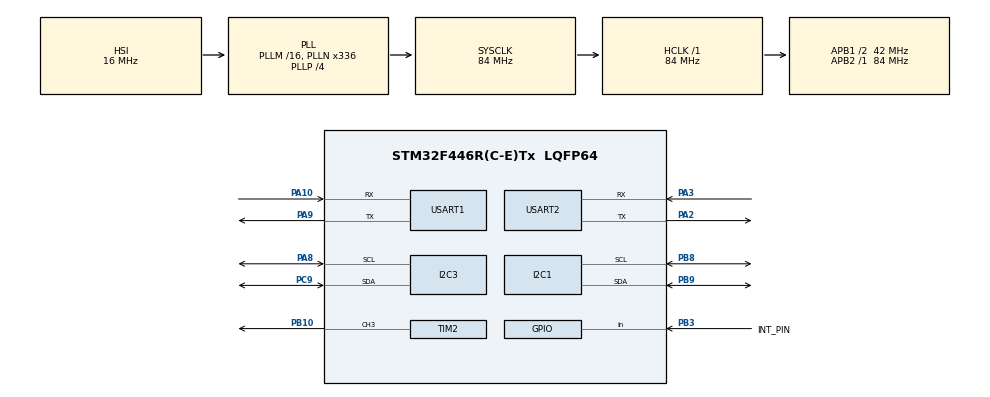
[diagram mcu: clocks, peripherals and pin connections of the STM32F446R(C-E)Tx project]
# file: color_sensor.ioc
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Dma.Request0=USART2_RX
Dma.Request1=USART2_TX
Dma.USART2_RX.0.Direction=DMA_PERIPH_TO_MEMORY
Dma.USART2_RX.0.FIFOMode=DMA_FIFOMODE_DISABLE
Dma.USART2_RX.0.Instance=DMA1_Stream5
Dma.USART2_RX.0.MemDataAlignment=DMA_MDATAALIGN_BYTE
Dma.USART2_RX.0.MemInc=DMA_MINC_ENABLE
Dma.USART2_RX.0.Mode=DMA_NORMAL
Dma.USART2_RX.0.PeriphDataAlignment=DMA_PDATAALIGN_BYTE
Dma.USART2_RX.0.PeriphInc=DMA_PINC_DISABLE
Dma.USART2_RX.0.Priority=DMA_PRIORITY_LOW
Dma.USART2_TX.1.Direction=DMA_MEMORY_TO_PERIPH
Dma.USART2_TX.1.FIFOMode=DMA_FIFOMODE_DISABLE
Dma.USART2_TX.1.Instance=DMA1_Stream6
Dma.USART2_TX.1.MemDataAlignment=DMA_MDATAALIGN_BYTE
Dma.USART2_TX.1.MemInc=DMA_MINC_ENABLE
Dma.USART2_TX.1.Mode=DMA_NORMAL
Dma.USART2_TX.1.PeriphDataAlignment=DMA_PDATAALIGN_BYTE
Dma.USART2_TX.1.PeriphInc=DMA_PINC_DISABLE
Dma.USART2_TX.1.Priority=DMA_PRIORITY_LOW
I2C1.I2C_Mode=I2C_Standard
Mcu.Family=STM32F4
Mcu.Name=STM32F446R(C-E)Tx
Mcu.Package=LQFP64
NVIC.DMA1_Stream5_IRQn=true\:0\:0\:false\:false\:true\:false\:true\:true
NVIC.DMA1_Stream6_IRQn=true\:0\:0\:false\:false\:true\:false\:true\:true
NVIC.PriorityGroup=NVIC_PRIORITYGROUP_0
PA10.Mode=Asynchronous
PA10.Signal=USART1_RX
PA2.Mode=Asynchronous
PA2.Signal=USART2_TX
PA3.Mode=Asynchronous
PA3.Signal=USART2_RX
PA8.Mode=I2C
PA8.Signal=I2C3_SCL
PA9.Mode=Asynchronous
PA9.Signal=USART1_TX
PB10.Signal=S_TIM2_CH3
PB3.GPIO_Label=INT_PIN
PB3.Signal=GPIO_Input
PB8.Mode=I2C
PB8.Signal=I2C1_SCL
PB9.Mode=I2C
PB9.Signal=I2C1_SDA
PC9.Mode=I2C
PC9.Signal=I2C3_SDA
ProjectManager.HeapSize=0x200
ProjectManager.StackSize=0x400
ProjectManager.TargetToolchain=STM32CubeIDE
RCC.48MHZClocksFreq_Value=84000000
RCC.AHBFreq_Value=84000000
RCC.APB1CLKDivider=RCC_HCLK_DIV2
RCC.APB1Freq_Value=42000000
RCC.APB1TimFreq_Value=84000000
RCC.APB2Freq_Value=84000000
RCC.APB2TimFreq_Value=84000000
RCC.CortexFreq_Value=84000000
RCC.FLatency-AdvancedSettings=FLASH_LATENCY_2
RCC.HCLKFreq_Value=84000000
RCC.HSE_VALUE=8000000
RCC.HSI_VALUE=16000000
RCC.PLLN=336
RCC.PLLP=RCC_PLLP_DIV4
RCC.SYSCLKFreq_VALUE=84000000
RCC.SYSCLKSource=RCC_SYSCLKSOURCE_PLLCLK
RCC.USBFreq_Value=168000000
RCC.VCOOutputFreq_Value=336000000
SH.S_TIM2_CH3.0=TIM2_CH3,PWM Generation3 CH3
TIM2.AutoReloadPreload=TIM_AUTORELOAD_PRELOAD_ENABLE
TIM2.Channel-PWM\ Generation3\ CH3=TIM_CHANNEL_3
TIM2.Period=2000-1
TIM2.Prescaler=36-1
USART1.VirtualMode=VM_ASYNC
USART2.VirtualMode=VM_ASYNC
board=NUCLEO-F446RE

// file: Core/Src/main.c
/* USER CODE BEGIN Header */
/**
  ******************************************************************************
  * @file           : main.c
  * @brief          : Main program body
  ******************************************************************************
  * @attention
  *
  * Copyright (c) 2024 STMicroelectronics.
  * All rights reserved.
  *
  * This software is licensed under terms that can be found in the LICENSE file
  * in the root directory of this software component.
  * If no LICENSE file comes with this software, it is provided AS-IS.
  *
  ******************************************************************************
  */
/* USER CODE END Header */
#include "main.h"

/* USER CODE BEGIN Includes */
#include "DEV_Config.h"
#include "TCS34725.h"
#include "string.h"
#include "stdio.h"
#include "math.h"
#include "stm32f4xx_hal.h"
#include "stm32f4xx.h"
/* USER CODE END Includes */

I2C_HandleTypeDef hi2c1;
I2C_HandleTypeDef hi2c3;

TIM_HandleTypeDef htim2;

UART_HandleTypeDef huart1;
UART_HandleTypeDef huart2;
DMA_HandleTypeDef hdma_usart2_rx;
DMA_HandleTypeDef hdma_usart2_tx;

/* USER CODE BEGIN PV */
uint8_t buffer[15];
uint16_t buff;
int i;
//char buffer[100];
//char buff[500];

//char buffer[100];

/* USER CODE END PV */

void SystemClock_Config(void);
//static void MX_GPIO_Init(void);
static void MX_DMA_Init(void);
static void MX_USART2_UART_Init(void);
static void MX_I2C1_Init(void);
static void MX_TIM2_Init(void);
static void MX_USART1_UART_Init(void);
static void MX_I2C3_Init(void);

int main(void)
{
  /* USER CODE BEGIN 1 */
	RGB rgb;
	UDOUBLE RGB888=0;
  /* USER CODE END 1 */

  /* MCU Configuration--------------------------------------------------------*/

  /* Reset of all peripherals, Initializes the Flash interface and the Systick. */
  HAL_Init();

  /* Configure the system clock */
  SystemClock_Config();

  /* Initialize all configured peripherals */
  MX_GPIO_Init();
  MX_DMA_Init();
  MX_USART2_UART_Init();
  MX_I2C1_Init();
  MX_TIM2_Init();
  MX_USART1_UART_Init();
  MX_I2C3_Init();
  /* USER CODE BEGIN 2 */
  MX_GPIO_Init();

	HAL_TIM_PWM_Start(&htim2, TIM_CHANNEL_3);
	if(TCS34725_Init() != 0){
      printf("TCS34725 initialization error!!\n");
  }
	else{
  printf("TCS34725 initialization success!!\n");
	}
	uint8_t data[] = "HELLO WORLD \r\n";

	HAL_UART_Transmit (&huart1, data, sizeof (data), 10);
  /* USER CODE END 2 */

  /* Infinite loop */
  /* USER CODE BEGIN WHILE */
  while (1)
  {
//	  	HAL_UART_Transmit(&huart1, data, sizeof (data), 10);

		rgb=TCS34725_Get_RGBData();
		RGB888=TCS34725_GetRGB888(rgb);
//		sprintf(buffer, "RGB888 :R=%lu   G=%lu  B=%lu \n", (RGB888 >> 16), ((RGB888 >> 8) & 0xFF), (RGB888 & 0xFF));8
		buffer[0]=RGB888>>16 ;
		buffer[1]=(RGB888>>8) & 0xff;
		buffer[2]=(RGB888) & 0xff;
//		printf("RGB888 :R=%lu   G=%lu  B=%lu \n", (RGB888 >> 16), ((RGB888 >> 8) & 0xFF), (RGB888 & 0xFF));
//		printf("RGB888=0X%lX  RGB565=0X%X \n", RGB888, RGB565);
//		if(TCS34725_GetLux_Interrupt(0xff00, 0x0Cff) == 1){
//				printf("Lux_Interrupt = 1\r\n");
//		}else{
//				printf("Lux_Interrupt = 0\r\n");
//		}
//		printf("\r\n");
		//DEV_Delay_ms(300);
    /* USER CODE END WHILE */

  }
}

void SystemClock_Config(void)
{
  RCC_OscInitTypeDef RCC_OscInitStruct = {0};
  RCC_ClkInitTypeDef RCC_ClkInitStruct = {0};

  /** Configure the main internal regulator output voltage
  */
  __HAL_RCC_PWR_CLK_ENABLE();
  __HAL_PWR_VOLTAGESCALING_CONFIG(PWR_REGULATOR_VOLTAGE_SCALE3);

  /** Initializes the RCC Oscillators according to the specified parameters
  * in the RCC_OscInitTypeDef structure.
  */
  RCC_OscInitStruct.OscillatorType = RCC_OSCILLATORTYPE_HSI;
  RCC_OscInitStruct.HSIState = RCC_HSI_ON;
  RCC_OscInitStruct.HSICalibrationValue = RCC_HSICALIBRATION_DEFAULT;
  RCC_OscInitStruct.PLL.PLLState = RCC_PLL_ON;
  RCC_OscInitStruct.PLL.PLLSource = RCC_PLLSOURCE_HSI;
  RCC_OscInitStruct.PLL.PLLM = 16;
  RCC_OscInitStruct.PLL.PLLN = 336;
  RCC_OscInitStruct.PLL.PLLP = RCC_PLLP_DIV4;
  RCC_OscInitStruct.PLL.PLLQ = 2;
  RCC_OscInitStruct.PLL.PLLR = 2;
  if (HAL_RCC_OscConfig(&RCC_OscInitStruct) != HAL_OK)
  {
    Error_Handler();
  }

  /** Initializes the CPU, AHB and APB buses clocks
  */
  RCC_ClkInitStruct.ClockType = RCC_CLOCKTYPE_HCLK|RCC_CLOCKTYPE_SYSCLK
                              |RCC_CLOCKTYPE_PCLK1|RCC_CLOCKTYPE_PCLK2;
  RCC_ClkInitStruct.SYSCLKSource = RCC_SYSCLKSOURCE_PLLCLK;
  RCC_ClkInitStruct.AHBCLKDivider = RCC_SYSCLK_DIV1;
  RCC_ClkInitStruct.APB1CLKDivider = RCC_HCLK_DIV2;
  RCC_ClkInitStruct.APB2CLKDivider = RCC_HCLK_DIV1;

  if (HAL_RCC_ClockConfig(&RCC_ClkInitStruct, FLASH_LATENCY_2) != HAL_OK)
  {
    Error_Handler();
  }
}

static void MX_I2C1_Init(void)
{

  hi2c1.Instance = I2C1;
  hi2c1.Init.ClockSpeed = 100000;
  hi2c1.Init.DutyCycle = I2C_DUTYCYCLE_2;
  hi2c1.Init.OwnAddress1 = 0;
  hi2c1.Init.AddressingMode = I2C_ADDRESSINGMODE_7BIT;
  hi2c1.Init.DualAddressMode = I2C_DUALADDRESS_DISABLE;
  hi2c1.Init.OwnAddress2 = 0;
  hi2c1.Init.GeneralCallMode = I2C_GENERALCALL_DISABLE;
  hi2c1.Init.NoStretchMode = I2C_NOSTRETCH_DISABLE;
  if (HAL_I2C_Init(&hi2c1) != HAL_OK)
  {
    Error_Handler();
  }

}

static void MX_I2C3_Init(void)
{

  hi2c3.Instance = I2C3;
  hi2c3.Init.ClockSpeed = 100000;
  hi2c3.Init.DutyCycle = I2C_DUTYCYCLE_2;
  hi2c3.Init.OwnAddress1 = 0;
  hi2c3.Init.AddressingMode = I2C_ADDRESSINGMODE_7BIT;
  hi2c3.Init.DualAddressMode = I2C_DUALADDRESS_DISABLE;
  hi2c3.Init.OwnAddress2 = 0;
  hi2c3.Init.GeneralCallMode = I2C_GENERALCALL_DISABLE;
  hi2c3.Init.NoStretchMode = I2C_NOSTRETCH_DISABLE;
  if (HAL_I2C_Init(&hi2c3) != HAL_OK)
  {
    Error_Handler();
  }

}

static void MX_TIM2_Init(void)
{

  TIM_MasterConfigTypeDef sMasterConfig = {0};
  TIM_OC_InitTypeDef sConfigOC = {0};

  htim2.Instance = TIM2;
  htim2.Init.Prescaler = 36-1;
  htim2.Init.CounterMode = TIM_COUNTERMODE_UP;
  htim2.Init.Period = 2000-1;
  htim2.Init.ClockDivision = TIM_CLOCKDIVISION_DIV1;
  htim2.Init.AutoReloadPreload = TIM_AUTORELOAD_PRELOAD_ENABLE;
  if (HAL_TIM_PWM_Init(&htim2) != HAL_OK)
  {
    Error_Handler();
  }
  sMasterConfig.MasterOutputTrigger = TIM_TRGO_RESET;
  sMasterConfig.MasterSlaveMode = TIM_MASTERSLAVEMODE_DISABLE;
  if (HAL_TIMEx_MasterConfigSynchronization(&htim2, &sMasterConfig) != HAL_OK)
  {
    Error_Handler();
  }
  sConfigOC.OCMode = TIM_OCMODE_PWM1;
  sConfigOC.Pulse = 0;
  sConfigOC.OCPolarity = TIM_OCPOLARITY_HIGH;
  sConfigOC.OCFastMode = TIM_OCFAST_DISABLE;
  if (HAL_TIM_PWM_ConfigChannel(&htim2, &sConfigOC, TIM_CHANNEL_3) != HAL_OK)
  {
    Error_Handler();
  }
  HAL_TIM_MspPostInit(&htim2);

}

static void MX_USART1_UART_Init(void)
{

  huart1.Instance = USART1;
  huart1.Init.BaudRate = 115200;
  huart1.Init.WordLength = UART_WORDLENGTH_8B;
  huart1.Init.StopBits = UART_STOPBITS_1;
  huart1.Init.Parity = UART_PARITY_NONE;
  huart1.Init.Mode = UART_MODE_TX_RX;
  huart1.Init.HwFlowCtl = UART_HWCONTROL_NONE;
  huart1.Init.OverSampling = UART_OVERSAMPLING_16;
  if (HAL_UART_Init(&huart1) != HAL_OK)
  {
    Error_Handler();
  }

}

static void MX_USART2_UART_Init(void)
{

  huart2.Instance = USART2;
  huart2.Init.BaudRate = 115200;
  huart2.Init.WordLength = UART_WORDLENGTH_8B;
  huart2.Init.StopBits = UART_STOPBITS_1;
  huart2.Init.Parity = UART_PARITY_NONE;
  huart2.Init.Mode = UART_MODE_TX_RX;
  huart2.Init.HwFlowCtl = UART_HWCONTROL_NONE;
  huart2.Init.OverSampling = UART_OVERSAMPLING_16;
  if (HAL_UART_Init(&huart2) != HAL_OK)
  {
    Error_Handler();
  }

}

static void MX_DMA_Init(void)
{

  /* DMA controller clock enable */
  __HAL_RCC_DMA1_CLK_ENABLE();

  /* DMA interrupt init */
  /* DMA1_Stream5_IRQn interrupt configuration */
  HAL_NVIC_SetPriority(DMA1_Stream5_IRQn, 0, 0);
  HAL_NVIC_EnableIRQ(DMA1_Stream5_IRQn);
  /* DMA1_Stream6_IRQn interrupt configuration */
  HAL_NVIC_SetPriority(DMA1_Stream6_IRQn, 0, 0);
  HAL_NVIC_EnableIRQ(DMA1_Stream6_IRQn);

}

//static void MX_GPIO_Init(void)
//{
//  GPIO_InitTypeDef GPIO_InitStruct = {0};
///* USER CODE BEGIN MX_GPIO_Init_1 */
///* USER CODE END MX_GPIO_Init_1 */
//
//  /* GPIO Ports Clock Enable */
//  __HAL_RCC_GPIOA_CLK_ENABLE();
//  __HAL_RCC_GPIOB_CLK_ENABLE();
//  __HAL_RCC_GPIOC_CLK_ENABLE();
//
//  /*Configure GPIO pin : INT_PIN_Pin */
//  GPIO_InitStruct.Pin = INT_PIN_Pin;
//  GPIO_InitStruct.Mode = GPIO_MODE_INPUT;
//  GPIO_InitStruct.Pull = GPIO_NOPULL;
//  HAL_GPIO_Init(INT_PIN_GPIO_Port, &GPIO_InitStruct);
//
///* USER CODE BEGIN MX_GPIO_Init_2 */
///* USER CODE END MX_GPIO_Init_2 */
//}

void Error_Handler(void)
{
  __disable_irq();
  while (1)
  {
  }
}
